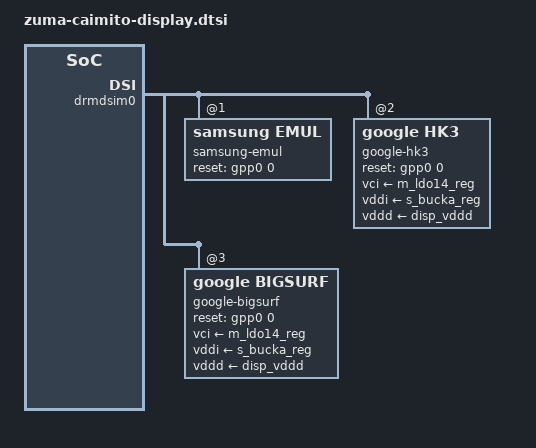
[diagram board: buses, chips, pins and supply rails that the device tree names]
// SPDX-License-Identifier: GPL-2.0-only
/*
 * Display nodes for caimito boards.
 *
 * Copyright 2023 Google LLC
 *
 */

#include "google-dts-base/devices/ripcurrent/zuma-ripcurrent-display.dtsi"

&drmdsim0 {
	panel@1 {
		compatible = "samsung,emul";
		label = "samsung-emul";
		channel = <0>;

		/* reset, power */
		reset-gpios = <&gpp0 0 GPIO_ACTIVE_HIGH>;
	};
	panel@2 {
		compatible = "google,hk3";
		label = "google-hk3";
		channel = <0>;

		/* reset, power */
		reset-gpios = <&gpp0 0 GPIO_ACTIVE_HIGH>;
		vci-supply = <&m_ldo14_reg>;
		vddi-supply = <&s_bucka_reg>;
		vddd-supply = <&disp_vddd>;
	};
	panel@3 {
		compatible = "google,bigsurf";
		label = "google-bigsurf";
		channel = <0>;

		/* reset, power */
		reset-gpios = <&gpp0 0 GPIO_ACTIVE_HIGH>;
		vci-supply = <&m_ldo14_reg>;
		vddi-supply = <&s_bucka_reg>;
		vddd-supply = <&disp_vddd>;
	};
};

&disp_vddd {
	gpio = <&gpp21 4 GPIO_ACTIVE_HIGH>;
};

